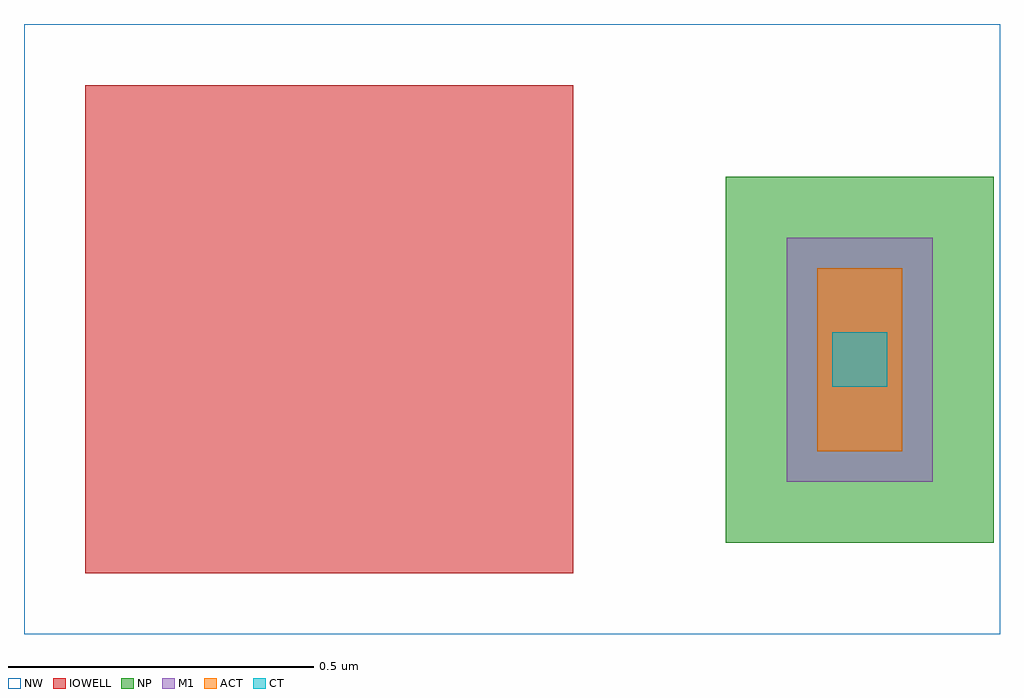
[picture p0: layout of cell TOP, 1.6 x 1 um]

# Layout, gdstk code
import gdstk
lib = gdstk.Library(unit=1e-6, precision=1e-09)
def R(c, l, rs):  # rectangles x0, y0, x1, y1
    for r in rs: c.add(gdstk.rectangle(r[:2], r[2:], *l))
ACT = (2, 1)
NW = (9, 1)
IOWELL = (28, 1)
NP = (52, 1)
CT = (72, 1)
M1 = (81, 1)

top = lib.new_cell('TOP')
R(top, ACT, [(1.3,0.3,1.44,0.6)])
R(top, NW, [(0,0,1.6,1)])
R(top, IOWELL, [(0.1,0.1,0.9,0.9)])
R(top, NP, [(1.15,0.15,1.59,0.75)])
R(top, CT, [(1.325,0.405,1.415,0.495)])
R(top, M1, [(1.25,0.25,1.49,0.65)])

lib.write_gds('TOP.gds')
